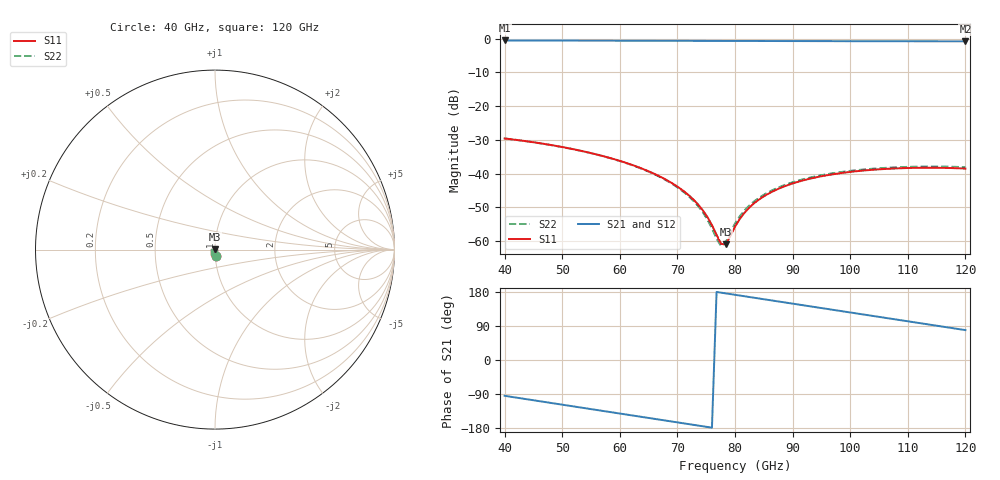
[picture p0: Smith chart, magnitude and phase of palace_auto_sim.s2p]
#  GHZ S DB R 50
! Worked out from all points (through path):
!   101 points, 40 GHz to 120 GHz, reference 50 ohm
!   highest |S21| = -0.50 dB at 40 GHz (marker M1); lowest = -0.8 dB at 120 GHz (marker M2)
!   group delay of S21, straight-line fit = 6.48 ps
!   lowest |S11| = -61.0 dB at 78.4 GHz (marker M3), VSWR 1.00, Z = 50 + j0.0837 ohm
!   |S11| at or under -10 dB: start of sweep to end of sweep
!   |S22| runs from -61.6 to -29.6 dB; largest |S21 - S12| = 1.1e-14
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40  -29.59 -84.3  -0.50 -94.5  -0.50 -94.5  -29.60 -84.3
46.4  -31.07 -101.0  -0.52 -109.5  -0.52 -109.5  -31.09 -101.0
53.6  -33.38 -120.2  -0.55 -126.3  -0.55 -126.3  -33.41 -120.2
61.6  -37.12 -142.2  -0.58 -145.0  -0.58 -145.0  -37.19 -142.2
67.2  -41.08 -158.9  -0.60 -158.1  -0.60 -158.1  -41.22 -158.9
70.4  -44.34 -169.8  -0.61 -165.5  -0.61 -165.5  -44.58 -169.9
72.8  -47.75 -180.0  -0.62 -171.1  -0.62 -171.1  -48.13 179.7
74.4  -50.88 170.5  -0.62 -174.9  -0.62 -174.9  -51.46 169.7
75.2  -52.88 163.7  -0.63 -176.7  -0.63 -176.7  -53.61 162.2
76.8  -58.19 137.9  -0.63 179.5  -0.63 179.5  -59.33 131.2
77.6  -60.89 109.1  -0.64 177.7  -0.64 177.7  -61.55 96.0
78.4  -60.99 69.6  -0.64 175.8  -0.64 175.8  -60.34 57.0
80  -55.78 24.7  -0.64 172.1  -0.64 172.1  -54.84 20.4
80.8  -53.55 14.9  -0.65 170.2  -0.65 170.2  -52.74 12.1
82.4  -50.25 2.9  -0.65 166.5  -0.65 166.5  -49.63 1.4
84.8  -46.98 -8.4  -0.66 160.9  -0.66 160.9  -46.51 -9.3
88.8  -43.66 -22.3  -0.68 151.5  -0.68 151.5  -43.29 -22.8
93.6  -41.30 -36.4  -0.69 140.3  -0.69 140.3  -40.98 -36.7
100.8  -39.37 -55.9  -0.72 123.6  -0.72 123.6  -39.06 -56.1
107.2  -38.54 -72.8  -0.73 108.7  -0.73 108.7  -38.21 -73.0
113.6  -38.28 -90.1  -0.75 93.8  -0.75 93.8  -37.92 -90.2
120  -38.53 -108.2  -0.76 78.9  -0.76 78.9  -38.11 -108.1
